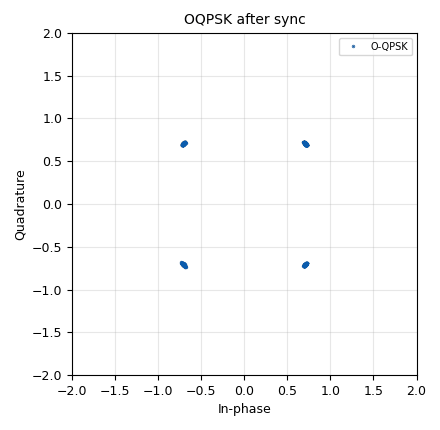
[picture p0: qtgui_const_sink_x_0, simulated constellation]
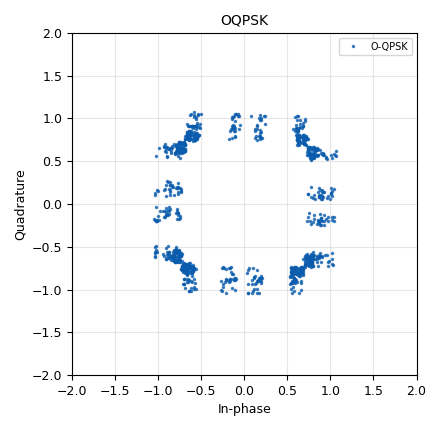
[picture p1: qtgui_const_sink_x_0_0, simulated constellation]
<?xml version='1.0' encoding='utf-8'?>
<?grc format='1' created='3.7.13'?>
<flow_graph>
<block>
<key>options</key>
<param><key>id</key><value>oqpsk_test</value></param>
<param><key>generate_options</key><value>qt_gui</value></param>
</block>
<block>
<key>variable</key>
<param><key>id</key><value>exc_bw</value></param>
<param><key>value</key><value>1</value></param>
</block>
<block>
<key>variable_constellation</key>
<param><key>id</key><value>qpsk</value></param>
<param><key>type</key><value>qpsk</value></param>
<param><key>precision</key><value>8</value></param>
</block>
<block>
<key>variable</key>
<param><key>id</key><value>samp_rate</value></param>
<param><key>value</key><value>32000</value></param>
</block>
<block>
<key>variable</key>
<param><key>id</key><value>sps</value></param>
<param><key>value</key><value>4</value></param>
</block>
<block>
<key>variable</key>
<param><key>id</key><value>symb_rate</value></param>
<param><key>value</key><value>samp_rate/sps</value></param>
</block>
<block>
<key>analog_random_source_x</key>
<param><key>id</key><value>analog_random_source_x_0</value></param>
<param><key>max</key><value>255</value></param>
<param><key>min</key><value>0</value></param>
<param><key>num_samps</key><value>1000</value></param>
<param><key>type</key><value>byte</value></param>
<param><key>repeat</key><value>True</value></param>
</block>
<block>
<key>blocks_complex_to_float</key>
<param><key>id</key><value>blocks_complex_to_float_0_0</value></param>
</block>
<block>
<key>blocks_delay</key>
<param><key>id</key><value>blocks_delay_0_0</value></param>
<param><key>delay</key><value>int(sps/2)</value></param>
<param><key>type</key><value>float</value></param>
</block>
<block>
<key>blocks_float_to_complex</key>
<param><key>id</key><value>blocks_float_to_complex_0_0</value></param>
</block>
<block>
<key>blocks_throttle</key>
<param><key>id</key><value>blocks_throttle_0_0</value></param>
<param><key>samples_per_second</key><value>samp_rate</value></param>
<param><key>type</key><value>complex</value></param>
</block>
<block>
<key>channels_channel_model</key>
<param><key>id</key><value>channels_channel_model_0</value></param>
<param><key>epsilon</key><value>1.000001</value></param>
<param><key>freq_offset</key><value>0.00001</value></param>
<param><key>noise_voltage</key><value>0.001</value></param>
<param><key>seed</key><value>0</value></param>
<param><key>taps</key><value>1.0 </value></param>
</block>
<block>
<key>digital_costas_loop_cc</key>
<param><key>id</key><value>digital_costas_loop_cc_0</value></param>
<param><key>w</key><value>cmath.pi/100</value></param>
<param><key>order</key><value>4</value></param>
<param><key>use_snr</key><value>True</value></param>
</block>
<block>
<key>digital_symbol_sync_xx</key>
<param><key>id</key><value>digital_symbol_sync_xx_0</value></param>
<param><key>damping</key><value>1.0/(2**0.5)</value></param>
<param><key>ted_gain</key><value>1.0/30.0</value></param>
<param><key>type</key><value>cc</value></param>
<param><key>resamp_type</key><value>digital.IR_MMSE_8TAP</value></param>
<param><key>loop_bw</key><value>cmath.pi*0.001</value></param>
<param><key>max_dev</key><value>0</value></param>
<param><key>osps</key><value>1</value></param>
<param><key>sps</key><value>sps</value></param>
<param><key>constellation</key><value>digital.constellation_qpsk().base()</value></param>
<param><key>ted_type</key><value>digital.TED_SEONG_LEE_OQPSK</value></param>
</block>
<block>
<key>import</key>
<param><key>id</key><value>import</value></param>
<param><key>import</key><value>import math, cmath</value></param>
</block>
<block>
<key>digital_constellation_modulator</key>
<param><key>id</key><value>qpsk_modulator</value></param>
<param><key>constellation</key><value>qpsk</value></param>
<param><key>differential</key><value>False</value></param>
<param><key>excess_bw</key><value>exc_bw</value></param>
<param><key>samples_per_symbol</key><value>sps</value></param>
</block>
<block>
<key>qtgui_const_sink_x</key>
<param><key>id</key><value>qtgui_const_sink_x_0</value></param>
<param><key>gui_hint</key><value>[0,1,1,1]</value></param>
<param><key>label1</key><value>O-QPSK</value></param>
<param><key>name</key><value>"OQPSK after sync"</value></param>
<param><key>size</key><value>1024</value></param>
<param><key>type</key><value>complex</value></param>
</block>
<block>
<key>qtgui_const_sink_x</key>
<param><key>id</key><value>qtgui_const_sink_x_0_0</value></param>
<param><key>gui_hint</key><value>[0,0,1,1]</value></param>
<param><key>label1</key><value>O-QPSK</value></param>
<param><key>name</key><value>"OQPSK"</value></param>
<param><key>size</key><value>1024</value></param>
<param><key>type</key><value>complex</value></param>
</block>
<connection><source_block_id>analog_random_source_x_0</source_block_id><sink_block_id>qpsk_modulator</sink_block_id><source_key>0</source_key><sink_key>0</sink_key></connection>
<connection><source_block_id>blocks_complex_to_float_0_0</source_block_id><sink_block_id>blocks_delay_0_0</sink_block_id><source_key>1</source_key><sink_key>0</sink_key></connection>
<connection><source_block_id>blocks_complex_to_float_0_0</source_block_id><sink_block_id>blocks_float_to_complex_0_0</sink_block_id><source_key>0</source_key><sink_key>0</sink_key></connection>
<connection><source_block_id>blocks_delay_0_0</source_block_id><sink_block_id>blocks_float_to_complex_0_0</sink_block_id><source_key>0</source_key><sink_key>1</sink_key></connection>
<connection><source_block_id>blocks_float_to_complex_0_0</source_block_id><sink_block_id>channels_channel_model_0</sink_block_id><source_key>0</source_key><sink_key>0</sink_key></connection>
<connection><source_block_id>blocks_throttle_0_0</source_block_id><sink_block_id>digital_costas_loop_cc_0</sink_block_id><source_key>0</source_key><sink_key>0</sink_key></connection>
<connection><source_block_id>blocks_throttle_0_0</source_block_id><sink_block_id>qtgui_const_sink_x_0_0</sink_block_id><source_key>0</source_key><sink_key>0</sink_key></connection>
<connection><source_block_id>channels_channel_model_0</source_block_id><sink_block_id>blocks_throttle_0_0</sink_block_id><source_key>0</source_key><sink_key>0</sink_key></connection>
<connection><source_block_id>digital_costas_loop_cc_0</source_block_id><sink_block_id>digital_symbol_sync_xx_0</sink_block_id><source_key>0</source_key><sink_key>0</sink_key></connection>
<connection><source_block_id>digital_symbol_sync_xx_0</source_block_id><sink_block_id>qtgui_const_sink_x_0</sink_block_id><source_key>0</source_key><sink_key>0</sink_key></connection>
<connection><source_block_id>qpsk_modulator</source_block_id><sink_block_id>blocks_complex_to_float_0_0</sink_block_id><source_key>0</source_key><sink_key>0</sink_key></connection>
</flow_graph>
